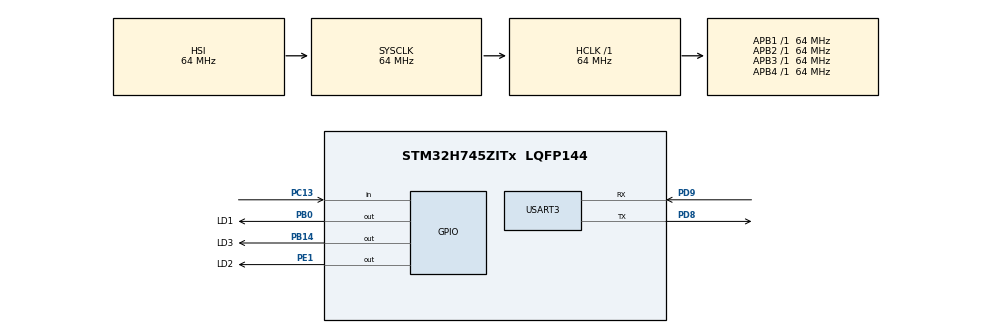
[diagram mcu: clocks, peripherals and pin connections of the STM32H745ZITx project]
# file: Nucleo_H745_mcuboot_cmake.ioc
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CORTEX_M7.default_mode_Activation=1
CortexM4.IPs=FATFS_M4\:I,FREERTOS_M4\:I,IWDG2\:I,RCC,WWDG2\:I,DMA,BDMA,MDMA,NVIC2\:I,ETH,DEBUG,PDM2PCM_M4\:I,PWR,RESMGR_UTILITY,SYS_M4\:I,USB_DEVICE_M4\:I,USB_HOST_M4\:I,CORTEX_M4\:I,GPIO,OPENAMP_M4\:I,VREFBUF,NUCLEO-H745ZI-Q\:I
CortexM7.IPs=FATFS_M7\:I,FREERTOS_M7\:I,IWDG1\:I,RCC\:I,WWDG1\:I,DMA\:I,BDMA\:I,MDMA\:I,NVIC1\:I,SYS\:I,USART3\:I,USB_OTG_FS\:I,ETH\:I,CORTEX_M7\:I,DEBUG\:I,PDM2PCM_M7\:I,PWR\:I,RESMGR_UTILITY\:I,USB_DEVICE_M7\:I,USB_HOST_M7\:I,GPIO\:I,OPENAMP_M7\:I,VREFBUF\:I
CortexM7.Pins=PC13,PB0,PB14,PE1
Mcu.Family=STM32H7
Mcu.Name=STM32H745ZITx
Mcu.Package=LQFP144
NVIC1.PriorityGroup=NVIC_PRIORITYGROUP_4
NVIC2.PriorityGroup=NVIC_PRIORITYGROUP_4
PB0.GPIO_Label=LD1
PB0.PinAttribute=CortexM7
PB0.Signal=GPIO_Output
PB0.TagName=LD1
PB14.GPIO_Label=LD3
PB14.PinAttribute=CortexM7
PB14.Signal=GPIO_Output
PB14.TagName=LD3
PC13.PinAttribute=CortexM7
PC13.Signal=GPIO_Input
PC13.TagName=BUTTON
PD8.Mode=Asynchronous
PD8.PinAttribute=CortexM7
PD8.Signal=USART3_TX
PD8.TagName=VCP_TX
PD9.Mode=Asynchronous
PD9.PinAttribute=CortexM7
PD9.Signal=USART3_RX
PD9.TagName=VCP_RX
PE1.GPIO_Label=LD2
PE1.PinAttribute=CortexM7
PE1.Signal=GPIO_Output
PE1.TagName=LD2
ProjectManager.HeapSize=M4-0x200,M7-0x200
ProjectManager.StackSize=M4-0x400,M7-0x400
ProjectManager.TargetToolchain=CMake
RCC.ADCFreq_Value=100000000
RCC.APB1Freq_Value=64000000
RCC.APB2Freq_Value=64000000
RCC.APB3Freq_Value=64000000
RCC.APB4Freq_Value=64000000
RCC.CortexFreq_Value=64000000
RCC.DIVM1=18
RCC.DIVM3=22
RCC.DIVN2=100
RCC.DIVN3=169
RCC.DIVQ2=4
RCC.DIVQ3=4
RCC.HCLKFreq_Value=64000000
RCC.PLL2FRACN=0
RCC.PLL3FRACN=0
RCC.PLLFRACN=0
RCC.SYSCLKFreq_VALUE=64000000
RCC.SupplySource=PWR_DIRECT_SMPS_SUPPLY
RCC.USART234578CLockSelection=RCC_USART234578CLKSOURCE_PLL2
RCC.USBCLockSelection=RCC_USBCLKSOURCE_PLL3
RCC.USBFreq_Value=122909090.9090909
USART3.VirtualMode-Asynchronous=VM_ASYNC
VP_SYS_M4_VS_Systick.Mode=SysTick
board=NUCLEO-H745ZI-Q

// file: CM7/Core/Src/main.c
/* USER CODE BEGIN Header */
/**
  ******************************************************************************
  * @file           : main.c
  * @brief          : Main program body
  ******************************************************************************
  * @attention
  *
  * Copyright (c) 2026 STMicroelectronics.
  * All rights reserved.
  *
  * This software is licensed under terms that can be found in the LICENSE file
  * in the root directory of this software component.
  * If no LICENSE file comes with this software, it is provided AS-IS.
  *
  ******************************************************************************
  */
/* USER CODE END Header */
#include "main.h"
#include "usart.h"
#include "gpio.h"

/* USER CODE BEGIN Includes */
#include <stdio.h>
#include "bootutil/bootutil.h"
#include "bootutil/image.h"
#include "boot_jump.h"
#include "bootutil/image.h"
#include "mcuboot_config/mcuboot_logging.h"
#include "bootutil/fault_injection_hardening.h"
#include "boot_status_leds.h"
/* USER CODE END Includes */

/* USER CODE BEGIN PD */

#ifndef HSEM_ID_0
#define HSEM_ID_0 (0U) /* HW semaphore 0*/
#endif
#define STM32_FLASH_BASE_ADDR 0x08000000UL

#define SLOT0_ADDR 0x08020000UL
#define APP_ADDR   0x08020200UL
/* USER CODE END PD */

void SystemClock_Config(void);

int main(void)
{
  /* USER CODE BEGIN 1 */
//	int loop = 0;
  /* USER CODE END 1 */
/* USER CODE BEGIN Boot_Mode_Sequence_0 */

/* USER CODE END Boot_Mode_Sequence_0 */

/* USER CODE BEGIN Boot_Mode_Sequence_1 */

/* USER CODE END Boot_Mode_Sequence_1 */
  /* MCU Configuration--------------------------------------------------------*/

  /* Reset of all peripherals, Initializes the Flash interface and the Systick. */
  HAL_Init();

  /* Configure the system clock */
  SystemClock_Config();
/* USER CODE BEGIN Boot_Mode_Sequence_2 */

/* USER CODE END Boot_Mode_Sequence_2 */

  /* Initialize all configured peripherals */
  MX_GPIO_Init();
  MX_USART3_UART_Init();
  /* USER CODE BEGIN 2 */
  boot_leds_event(BOOT_LED_EVENT_START);

  const struct image_header *hdr = (const struct image_header *)SLOT0_ADDR;

  uint32_t app_addr_from_hdr = SLOT0_ADDR + hdr->ih_hdr_size;
  uint32_t app_sp            = *(uint32_t *)(app_addr_from_hdr + 0U);
  uint32_t app_reset         = *(uint32_t *)(app_addr_from_hdr + 4U);

  MCUBOOT_LOG_INF("H745 MCUboot CM7 start");
  MCUBOOT_LOG_DBG("slot0 magic=0x%08lX expected=0x%08lX",
                  (unsigned long)hdr->ih_magic,
                  (unsigned long)IMAGE_MAGIC);
  MCUBOOT_LOG_DBG("slot0 hdr_size=0x%08lX img_size=0x%08lX flags=0x%08lX",
                  (unsigned long)hdr->ih_hdr_size,
                  (unsigned long)hdr->ih_img_size,
                  (unsigned long)hdr->ih_flags);
  MCUBOOT_LOG_DBG("app sp=0x%08lX reset=0x%08lX",
                  (unsigned long)app_sp,
                  (unsigned long)app_reset);

  struct boot_rsp rsp;

  const struct image_header *slot1_hdr =
      (const struct image_header *)0x08100000UL;

  if (slot1_hdr->ih_magic == IMAGE_MAGIC) {
      boot_leds_event(BOOT_LED_EVENT_SECONDARY_PRESENT);
  }

  boot_leds_event(BOOT_LED_EVENT_BOOT_GO_START);

  // fih_ret rc = boot_go(&rsp);

  // if (FIH_NOT_EQ(rc, FIH_SUCCESS)) {
  //     MCUBOOT_LOG_ERR("boot_go failed");

  //     while (1) {
  //         HAL_Delay(250);
  //     }
  // }

  // struct boot_rsp rsp;
  fih_ret rc = boot_go(&rsp);

  if (FIH_NOT_EQ(rc, FIH_SUCCESS)) {
      boot_led_error_t led_error = boot_leds_get_error();

      if (led_error == BOOT_LED_ERR_NONE) {
          led_error = BOOT_LED_ERR_BOOT_GO_FAILED;
      }

      boot_leds_error_loop(led_error);
  }

  uint32_t image_addr = STM32_FLASH_BASE_ADDR + rsp.br_image_off;
  uint32_t app_addr   = image_addr + rsp.br_hdr->ih_hdr_size;

  MCUBOOT_LOG_INF("boot_go OK");
  MCUBOOT_LOG_INF("image offset=0x%08lX", (unsigned long)rsp.br_image_off);
  MCUBOOT_LOG_INF("image addr=0x%08lX",   (unsigned long)image_addr);
  MCUBOOT_LOG_INF("header size=0x%08lX",  (unsigned long)rsp.br_hdr->ih_hdr_size);
  MCUBOOT_LOG_INF("jumping to app=0x%08lX", (unsigned long)app_addr);

  /*
  * Minimalna walidacja diagnostyczna wektora.
  * SP dla Twojego przypadku był np. 0x24080000.
  * Reset_Handler powinien być w primary slot.
  */
  if ((app_reset < 0x08020000UL) || (app_reset >= 0x08100000UL)) {
      boot_leds_error_loop(BOOT_LED_ERR_BAD_APP_VECTOR);
  }

  if ((app_sp < 0x20000000UL) || (app_sp >= 0x30000000UL)) {
      boot_leds_error_loop(BOOT_LED_ERR_BAD_APP_VECTOR);
  }

  boot_leds_event(BOOT_LED_EVENT_BOOT_OK);
  boot_leds_event(BOOT_LED_EVENT_BEFORE_JUMP);

  boot_jump_to_image(app_addr);

  boot_jump_to_image(app_addr);

  /* USER CODE END 2 */

  /* Infinite loop */
  /* USER CODE BEGIN WHILE */
  while (1)
  {
//	  printf("toggle green led: %d\r\n", loop++);
//	  HAL_GPIO_TogglePin(LD1_GPIO_Port, LD1_Pin);
//	  HAL_Delay(250);
    /* USER CODE END WHILE */

  }
}

void SystemClock_Config(void)
{
  RCC_OscInitTypeDef RCC_OscInitStruct = {0};
  RCC_ClkInitTypeDef RCC_ClkInitStruct = {0};

  /** Supply configuration update enable
  */
  HAL_PWREx_ConfigSupply(PWR_DIRECT_SMPS_SUPPLY);

  /** Configure the main internal regulator output voltage
  */
  __HAL_PWR_VOLTAGESCALING_CONFIG(PWR_REGULATOR_VOLTAGE_SCALE3);

  while(!__HAL_PWR_GET_FLAG(PWR_FLAG_VOSRDY)) {}

  /** Macro to configure the PLL clock source
  */
  __HAL_RCC_PLL_PLLSOURCE_CONFIG(RCC_PLLSOURCE_HSI);

  /** Initializes the RCC Oscillators according to the specified parameters
  * in the RCC_OscInitTypeDef structure.
  */
  RCC_OscInitStruct.OscillatorType = RCC_OSCILLATORTYPE_HSI;
  RCC_OscInitStruct.HSIState = RCC_HSI_DIV1;
  RCC_OscInitStruct.HSICalibrationValue = RCC_HSICALIBRATION_DEFAULT;
  RCC_OscInitStruct.PLL.PLLState = RCC_PLL_NONE;
  if (HAL_RCC_OscConfig(&RCC_OscInitStruct) != HAL_OK)
  {
    Error_Handler();
  }

  /** Initializes the CPU, AHB and APB buses clocks
  */
  RCC_ClkInitStruct.ClockType = RCC_CLOCKTYPE_HCLK|RCC_CLOCKTYPE_SYSCLK
                              |RCC_CLOCKTYPE_PCLK1|RCC_CLOCKTYPE_PCLK2
                              |RCC_CLOCKTYPE_D3PCLK1|RCC_CLOCKTYPE_D1PCLK1;
  RCC_ClkInitStruct.SYSCLKSource = RCC_SYSCLKSOURCE_HSI;
  RCC_ClkInitStruct.SYSCLKDivider = RCC_SYSCLK_DIV1;
  RCC_ClkInitStruct.AHBCLKDivider = RCC_HCLK_DIV1;
  RCC_ClkInitStruct.APB3CLKDivider = RCC_APB3_DIV1;
  RCC_ClkInitStruct.APB1CLKDivider = RCC_APB1_DIV1;
  RCC_ClkInitStruct.APB2CLKDivider = RCC_APB2_DIV1;
  RCC_ClkInitStruct.APB4CLKDivider = RCC_APB4_DIV1;

  if (HAL_RCC_ClockConfig(&RCC_ClkInitStruct, FLASH_LATENCY_1) != HAL_OK)
  {
    Error_Handler();
  }
}

void Error_Handler(void)
{
  __disable_irq();
  while (1)
  {
  }
}
